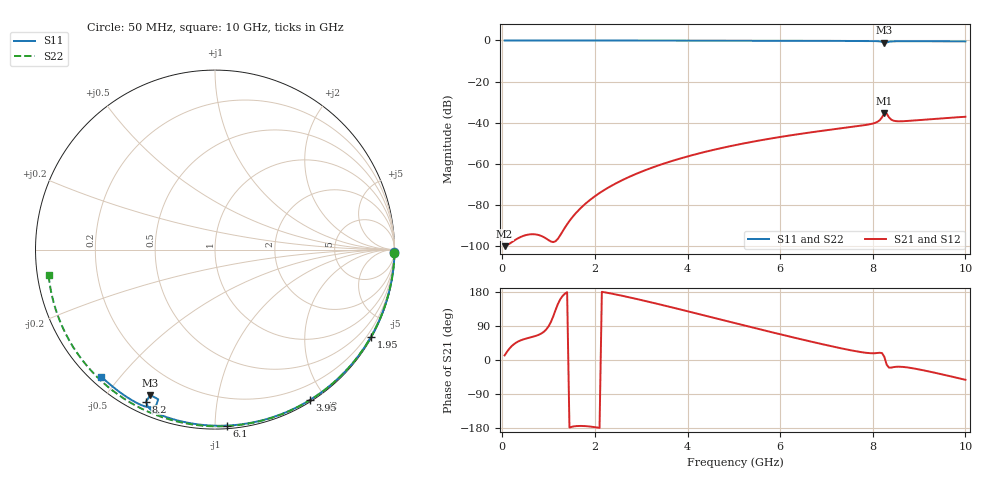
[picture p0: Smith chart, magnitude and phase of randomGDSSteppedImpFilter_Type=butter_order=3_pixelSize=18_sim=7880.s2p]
! freq	dB(S11)	phase(S11)	dB(S12)	phase(S12)
!  dB(S21)	phase(S21)	dB(S22)	phase(S22)
!S-par simulation data
#  GHz  S  DB  R 50
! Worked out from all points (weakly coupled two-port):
!   200 points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, 50 MHz to 10 GHz, reference 50 ohm
!   highest |S21| = -35.50 dB at 8.25 GHz (marker M1); lowest = -100.2 dB at 50 MHz (marker M2)
!   lowest |S11| = -1.0 dB at 8.25 GHz (marker M3), VSWR 16.67, Z = 4.26 - j32.3 ohm
!   |S11| at or under -10 dB: nowhere
!   |S22| runs from -0.6 to 0.0 dB; largest |S21 - S12| = 0
!   S11 on the Smith chart (normalised r, x): 50 MHz: open; 1.95 GHz: 0.03, -3.83; 3.95 GHz: 0.02, -1.81; 6.1 GHz: 0.02, -1.07; 8.2 GHz: 0.05, -0.64; 10 GHz: 0.03, -0.45
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0.05  -0.00 -0.8  -100.24 12.2  -100.24 12.2  -0.00 -1.0
0.85  -0.01 -12.9  -95.33 70.5  -95.33 70.5  -0.02 -17.0
1.75  -0.03 -26.3  -80.47 -174.2  -80.47 -174.2  -0.04 -34.5
1.95  -0.04 -29.3  -76.73 -176.4  -76.73 -176.4  -0.05 -38.4
2.25  -0.04 -33.7  -72.21 177.8  -72.21 177.8  -0.06 -44.1
2.6  -0.05 -38.8  -67.96 169.2  -67.96 169.2  -0.06 -50.6
3  -0.06 -44.5  -63.99 158.3  -63.99 158.3  -0.08 -58.0
3.4  -0.07 -50.2  -60.66 146.7  -60.66 146.7  -0.09 -65.2
3.95  -0.08 -57.8  -56.83 130.2  -56.83 130.2  -0.10 -75.0
5.05  -0.11 -72.6  -50.91 96.6  -50.91 96.6  -0.14 -93.6
6.1  -0.15 -86.2  -46.67 64.9  -46.67 64.9  -0.20 -110.6
6.7  -0.18 -93.7  -44.66 47.6  -44.66 47.6  -0.23 -120.0
7.95  -0.28 -109.6  -40.76 18.0  -40.76 18.0  -0.33 -139.3
8.1  -0.36 -112.1  -39.66 18.4  -39.66 18.4  -0.34 -141.6
8.2  -0.63 -114.4  -37.45 18.2  -37.45 18.2  -0.35 -143.1
8.25  -1.04 -113.9  -35.50 8.2  -35.50 8.2  -0.36 -143.8
8.3  -0.99 -110.8  -35.65 -12.4  -35.65 -12.4  -0.36 -144.6
8.35  -0.65 -110.7  -37.49 -20.2  -37.49 -20.2  -0.36 -145.4
8.45  -0.43 -112.7  -39.11 -18.8  -39.11 -18.8  -0.37 -146.9
8.6  -0.37 -115.1  -39.39 -17.8  -39.39 -17.8  -0.39 -149.2
9.3  -0.40 -123.7  -38.25 -32.5  -38.25 -32.5  -0.47 -160.1
10  -0.45 -131.9  -37.20 -52.3  -37.20 -52.3  -0.56 -171.2
